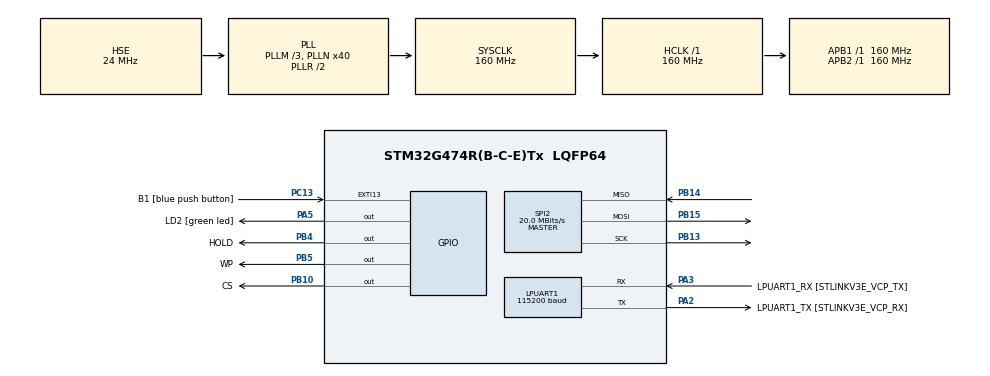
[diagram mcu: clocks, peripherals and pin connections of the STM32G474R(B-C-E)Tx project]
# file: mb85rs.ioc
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LPUART1.BaudRate=115200
LPUART1.WordLength=UART_WORDLENGTH_8B
Mcu.Family=STM32G4
Mcu.Name=STM32G474R(B-C-E)Tx
Mcu.Package=LQFP64
NVIC.EXTI15_10_IRQn=true\:0\:0\:false\:false\:true\:true\:true\:true
NVIC.PriorityGroup=NVIC_PRIORITYGROUP_4
PA13.GPIO_Label=T_SWDIO
PA13.Mode=Serial_Wire
PA13.Signal=SYS_JTMS-SWDIO
PA14.GPIO_Label=T_SWCLK
PA14.Mode=Serial_Wire
PA14.Signal=SYS_JTCK-SWCLK
PA2.GPIO_Label=LPUART1_TX [STLINKV3E_VCP_RX]
PA2.Mode=Asynchronous
PA2.Signal=LPUART1_TX
PA3.GPIO_Label=LPUART1_RX [STLINKV3E_VCP_TX]
PA3.Mode=Asynchronous
PA3.Signal=LPUART1_RX
PA5.GPIO_Label=LD2 [green led]
PA5.Signal=GPIO_Output
PB10.GPIO_Label=CS
PB10.GPIO_Speed=GPIO_SPEED_FREQ_VERY_HIGH
PB10.Signal=GPIO_Output
PB13.Mode=Full_Duplex_Master
PB13.Signal=SPI2_SCK
PB14.Mode=Full_Duplex_Master
PB14.Signal=SPI2_MISO
PB15.Mode=Full_Duplex_Master
PB15.Signal=SPI2_MOSI
PB3.GPIO_Label=T_SWO
PB3.Signal=SYS_JTDO-SWO
PB4.GPIO_Label=HOLD
PB4.GPIO_Speed=GPIO_SPEED_FREQ_VERY_HIGH
PB4.Signal=GPIO_Output
PB5.GPIO_Label=WP
PB5.GPIO_Speed=GPIO_SPEED_FREQ_VERY_HIGH
PB5.Signal=GPIO_Output
PC13.GPIO_Label=B1 [blue push button]
PC13.Signal=GPXTI13
PC14-OSC32_IN.Mode=LSE-External-Oscillator
PC14-OSC32_IN.Signal=RCC_OSC32_IN
PC15-OSC32_OUT.Mode=LSE-External-Oscillator
PC15-OSC32_OUT.Signal=RCC_OSC32_OUT
PF0-OSC_IN.Mode=HSE-External-Oscillator
PF0-OSC_IN.Signal=RCC_OSC_IN
PF1-OSC_OUT.Mode=HSE-External-Oscillator
PF1-OSC_OUT.Signal=RCC_OSC_OUT
ProjectManager.HeapSize=0x400
ProjectManager.StackSize=0x800
ProjectManager.TargetToolchain=Makefile
RCC.ADC12Freq_Value=160000000
RCC.ADC345Freq_Value=160000000
RCC.AHBFreq_Value=160000000
RCC.APB1Freq_Value=160000000
RCC.APB1TimFreq_Value=160000000
RCC.APB2Freq_Value=160000000
RCC.APB2TimFreq_Value=160000000
RCC.CortexFreq_Value=160000000
RCC.EXTERNAL_CLOCK_VALUE=12288000
RCC.HCLKFreq_Value=160000000
RCC.HSE_VALUE=24000000
RCC.HSI48_VALUE=48000000
RCC.HSI_VALUE=16000000
RCC.PLLM=RCC_PLLM_DIV3
RCC.PLLN=40
RCC.PLLSourceVirtual=RCC_PLLSOURCE_HSE
RCC.RTCClockSelection=RCC_RTCCLKSOURCE_LSE
RCC.SYSCLKFreq_VALUE=160000000
RCC.SYSCLKSource=RCC_SYSCLKSOURCE_PLLCLK
RCC.USBFreq_Value=160000000
RCC.VCOOutputFreq_Value=320000000
SPI2.BaudRatePrescaler=SPI_BAUDRATEPRESCALER_8
SPI2.CalculateBaudRate=20.0 MBits/s
SPI2.DataSize=SPI_DATASIZE_8BIT
SPI2.Direction=SPI_DIRECTION_2LINES
SPI2.Mode=SPI_MODE_MASTER
SPI2.VirtualType=VM_MASTER
VP_SYS_VS_DBSignals.Mode=DisableDeadBatterySignals
board=NUCLEO-G474RE

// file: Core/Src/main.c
/* USER CODE BEGIN Header */
/**
 ******************************************************************************
 * @file           : main.c
 * @brief          : Main program body
 ******************************************************************************
 * @attention
 *
 * Copyright (c) 2024 STMicroelectronics.
 * All rights reserved.
 *
 * This software is licensed under terms that can be found in the LICENSE file
 * in the root directory of this software component.
 * If no LICENSE file comes with this software, it is provided AS-IS.
 *
 ******************************************************************************
 */
/* USER CODE END Header */
#include "main.h"
#include "usart.h"
#include "spi.h"
#include "gpio.h"

/* USER CODE BEGIN Includes */
#include "stdio.h"
#include "string.h"
#include "mb85rs.h"
#include "mb85rs_stm32g4_impl.h"
/* USER CODE END Includes */

void SystemClock_Config(void);

int main(void) {

    /* MCU
     * Configuration--------------------------------------------------------*/

    /* Reset of all peripherals, Initializes the Flash interface and the
     * Systick. */
    HAL_Init();

    /* Configure the system clock */
    SystemClock_Config();

    /* Initialize all configured peripherals */
    MX_GPIO_Init();
    MX_LPUART1_UART_Init();
    MX_SPI2_Init();
    /* USER CODE BEGIN 2 */
    const MB85RS_Config_t config = {
        .WP_Enable = WP_Enable,
        .WP_Disable = WP_Disable,
        .HOLD_Enable = HOLD_Enable,
        .HOLD_Disable = HOLD_Disable,
        .CS_Enable = CS_Enable,
        .CS_Disable = CS_Disable,
        .SPI_TransmitBytes = SPI_TransmitBytes,
        .SPI_ReceiveBytes = SPI_ReceiveBytes,
    };

    MB85RS_Init(config);

    char buffer[64] = {0};

    MB85RS_SetBlockProtect(NONE);
    uint32_t sr = MB85RS_ReadBlockProtectStatus();

    snprintf(buffer, sizeof buffer, "BlockProtect: 0x%02lX\r\n", sr);
    HAL_UART_Transmit(&hlpuart1, (uint8_t *) buffer, strlen(buffer), 1000);

    uint8_t txData[4] = {0xAB, 0xCD, 0xEF, 0x12};
    uint8_t rxData[4] = {0};
    uint16_t address = 0x03F2;

    MB85RS_Write(address, txData, 4);
    MB85RS_Read(address, rxData, 4);

    snprintf(buffer, sizeof buffer,
             "Writing 0x%02X%02X%02X%02X at address 0x%04X\r\n", txData[0],
             txData[1], txData[2], txData[3], address);
    HAL_UART_Transmit(&hlpuart1, (uint8_t *) buffer, strlen(buffer), 1000);
    snprintf(buffer, sizeof buffer,
             "Data at 0x%04X address: 0x%02X%02X%02X%02X\r\n\n", address,
             rxData[0], rxData[1], rxData[2], rxData[3]);
    HAL_UART_Transmit(&hlpuart1, (uint8_t *) buffer, strlen(buffer), 1000);

    MB85RS_SetBlockProtect(ALL);
    sr = MB85RS_ReadBlockProtectStatus();

    snprintf(buffer, sizeof buffer, "BlockProtect: 0x%02lX\r\n", sr);
    HAL_UART_Transmit(&hlpuart1, (uint8_t *) buffer, strlen(buffer), 1000);

    uint8_t newTxData[4] = {0xAA, 0xBB, 0xCC, 0xDD};

    MB85RS_Write(address, newTxData, 4);
    MB85RS_Read(address, rxData, 4);

    snprintf(buffer, sizeof buffer,
             "Writing 0x%02X%02X%02X%02X at address 0x%04X\r\n", newTxData[0],
             newTxData[1], newTxData[2], newTxData[3], address);
    HAL_UART_Transmit(&hlpuart1, (uint8_t *) buffer, strlen(buffer), 1000);
    snprintf(buffer, sizeof buffer,
             "Data at 0x%04X address: 0x%02X%02X%02X%02X\r\n\n", address,
             rxData[0], rxData[1], rxData[2], rxData[3]);
    HAL_UART_Transmit(&hlpuart1, (uint8_t *) buffer, strlen(buffer), 1000);

    uint32_t rdid = MB85RS_GetRDID();

    snprintf(buffer, sizeof buffer, "Device ID: 0x%08lX\r\n\n", rdid);
    HAL_UART_Transmit(&hlpuart1, (uint8_t *) buffer, strlen(buffer), 1000);
    /* USER CODE END 2 */

    /* Infinite loop */
    /* USER CODE BEGIN WHILE */
    while (1) {
        HAL_GPIO_TogglePin(LD2_GPIO_Port, LD2_Pin);
        HAL_Delay(100);
        /* USER CODE END WHILE */

    }
}

void SystemClock_Config(void) {
    RCC_OscInitTypeDef RCC_OscInitStruct = {0};
    RCC_ClkInitTypeDef RCC_ClkInitStruct = {0};

    /** Configure the main internal regulator output voltage
     */
    HAL_PWREx_ControlVoltageScaling(PWR_REGULATOR_VOLTAGE_SCALE1_BOOST);

    /** Initializes the RCC Oscillators according to the specified parameters
     * in the RCC_OscInitTypeDef structure.
     */
    RCC_OscInitStruct.OscillatorType = RCC_OSCILLATORTYPE_HSE;
    RCC_OscInitStruct.HSEState = RCC_HSE_ON;
    RCC_OscInitStruct.PLL.PLLState = RCC_PLL_ON;
    RCC_OscInitStruct.PLL.PLLSource = RCC_PLLSOURCE_HSE;
    RCC_OscInitStruct.PLL.PLLM = RCC_PLLM_DIV3;
    RCC_OscInitStruct.PLL.PLLN = 40;
    RCC_OscInitStruct.PLL.PLLP = RCC_PLLP_DIV2;
    RCC_OscInitStruct.PLL.PLLQ = RCC_PLLQ_DIV2;
    RCC_OscInitStruct.PLL.PLLR = RCC_PLLR_DIV2;
    if (HAL_RCC_OscConfig(&RCC_OscInitStruct) != HAL_OK) {
        Error_Handler();
    }

    /** Initializes the CPU, AHB and APB buses clocks
     */
    RCC_ClkInitStruct.ClockType = RCC_CLOCKTYPE_HCLK | RCC_CLOCKTYPE_SYSCLK |
                                  RCC_CLOCKTYPE_PCLK1 | RCC_CLOCKTYPE_PCLK2;
    RCC_ClkInitStruct.SYSCLKSource = RCC_SYSCLKSOURCE_PLLCLK;
    RCC_ClkInitStruct.AHBCLKDivider = RCC_SYSCLK_DIV1;
    RCC_ClkInitStruct.APB1CLKDivider = RCC_HCLK_DIV1;
    RCC_ClkInitStruct.APB2CLKDivider = RCC_HCLK_DIV1;

    if (HAL_RCC_ClockConfig(&RCC_ClkInitStruct, FLASH_LATENCY_4) != HAL_OK) {
        Error_Handler();
    }
}

void Error_Handler(void) {
    /* USER CODE BEGIN Error_Handler_Debug */
    /* User can add his own implementation to report the HAL error return state
     */
    __disable_irq();
    while (1) {}
    /* USER CODE END Error_Handler_Debug */
}

#ifdef USE_FULL_ASSERT
/**
 * @brief  Reports the name of the source file and the source line number
 *         where the assert_param error has occurred.
 * @param  file: pointer to the source file name
 * @param  line: assert_param error line source number
 * @retval None
 */
void assert_failed(uint8_t *file, uint32_t line) {
    /* USER CODE BEGIN 6 */
    /* User can add his own implementation to report the file name and line
       number, ex: printf("Wrong parameters value: file %s on line %d\r\n",
       file, line) */
    /* USER CODE END 6 */
}
#endif /* USE_FULL_ASSERT */
